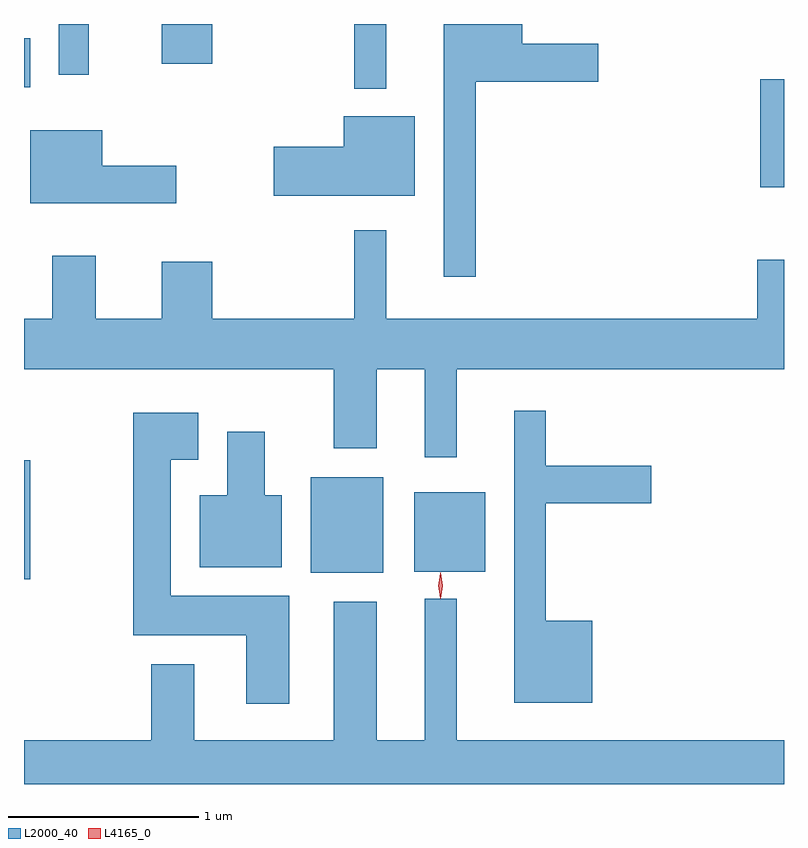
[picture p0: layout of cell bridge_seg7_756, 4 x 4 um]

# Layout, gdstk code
import gdstk
lib = gdstk.Library(unit=1e-6, precision=1e-09)
def R(c, l, rs):  # rectangles x0, y0, x1, y1
    for r in rs: c.add(gdstk.rectangle(r[:2], r[2:], *l))
def P(c, l, *ps):  # polygons
    for p in ps: c.add(gdstk.Polygon(p, *l))
L2000_40 = (2000, 40)
L4165_0 = (4165, 0)

bridge_seg7_756 = lib.new_cell('bridge_seg7_756')
R(bridge_seg7_756, L2000_40, [(254.312,1795.351,254.344,1795.979), (255.821,1795.386,256.204,1795.889), (256.366,1795.391,256.739,1795.809), (258.186,1797.416,258.312,1797.984), (256.051,1797.933,256.219,1798.274), (254.312,1797.941,254.344,1798.199), (254.496,1798.008,254.654,1798.274), (255.036,1798.066,255.304,1798.274)])
P(bridge_seg7_756, L2000_40, [(256.689,1797.971),(257.334,1797.971),(257.334,1798.169),(256.934,1798.169),(256.934,1798.274),(256.521,1798.274),(256.521,1796.943),(256.689,1796.943)],
  [(256.369,1797.789),(255.996,1797.789),(255.996,1797.629),(255.626,1797.629),(255.626,1797.371),(256.369,1797.371)],
  [(255.114,1797.529),(254.724,1797.529),(254.724,1797.714),(254.346,1797.714),(254.346,1797.331),(255.114,1797.331)],
  [(256.589,1796.456),(258.312,1796.456),(258.312,1797.034),(258.171,1797.034),(258.171,1796.724),(256.219,1796.724),(256.219,1797.188),(256.051,1797.188),(256.051,1796.724),(255.304,1796.724),(255.304,1797.024),(255.036,1797.024),(255.036,1796.724),(254.689,1796.724),(254.689,1797.054),(254.461,1797.054),(254.461,1796.724),(254.312,1796.724),(254.312,1796.456),(255.941,1796.456),(255.941,1796.041),(256.169,1796.041),(256.169,1796.456),(256.421,1796.456),(256.421,1795.993),(256.589,1795.993)],
  [(257.304,1795.134),(257.059,1795.134),(257.059,1795.751),(257.614,1795.751),(257.614,1795.949),(257.059,1795.949),(257.059,1796.238),(256.891,1796.238),(256.891,1794.701),(257.304,1794.701)],
  [(255.709,1795.264),(255.084,1795.264),(255.084,1795.981),(255.229,1795.981),(255.229,1796.229),(254.886,1796.229),(254.886,1795.056),(255.481,1795.056),(255.481,1794.696),(255.709,1794.696)],
  [(255.669,1795.794),(255.579,1795.794),(255.579,1796.129),(255.381,1796.129),(255.381,1795.794),(255.236,1795.794),(255.236,1795.416),(255.669,1795.416)],
  [(258.312,1794.504),(256.589,1794.504),(256.589,1795.248),(256.421,1795.248),(256.421,1794.504),(256.169,1794.504),(256.169,1795.234),(255.941,1795.234),(255.941,1794.504),(255.209,1794.504),(255.209,1794.904),(254.981,1794.904),(254.981,1794.504),(254.312,1794.504),(254.312,1794.274),(258.312,1794.274)])
P(bridge_seg7_756, L4165_0, [(256.502,1795.253),(256.493,1795.318),(256.502,1795.381),(256.503,1795.382),(256.504,1795.381),(256.513,1795.318),(256.504,1795.253),(256.503,1795.253)],
  [(256.504,1795.25),(256.495,1795.318),(256.504,1795.386),(256.504,1795.386),(256.505,1795.386),(256.515,1795.318),(256.505,1795.25),(256.505,1795.25)])

lib.write_gds('bridge_seg7_756.gds')
